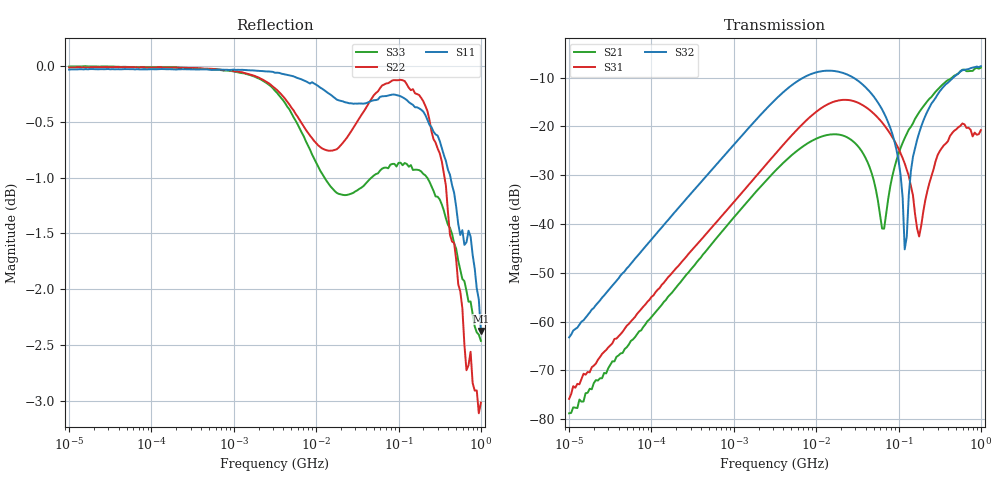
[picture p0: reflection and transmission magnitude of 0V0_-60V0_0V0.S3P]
!Keysight Technologies,E5080A,MY55100144,A.11.70.03
!Date: Monday, November 13, 2017 17:21:25
!Correction: S11(Full 3 Port(1,2,3))
!S12(Full 3 Port(1,2,3))
!S13(Full 3 Port(1,2,3))
!S21(Full 3 Port(1,2,3))
!S22(Full 3 Port(1,2,3))
!S23(Full 3 Port(1,2,3))
!S31(Full 3 Port(1,2,3))
!S32(Full 3 Port(1,2,3))
!S33(Full 3 Port(1,2,3))
!S3P File: Measurements: <S11,S12,S13>,
!<S21,S22,S23>,
!<S31,S32,S33>:Log Frequency Sweep
# Hz S  RI  R 50
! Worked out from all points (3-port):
!   201 points, 10 kHz to 1 GHz, reference 50 ohm
!   strongest paths, dB at 10 kHz, 177.8 kHz, 3.162 MHz, 56.23 MHz, 1 GHz:
!     S32: -63.3, -38.3, -14.6, -15.1, -7.7
!     S31: -75.9, -50.0, -25.7, -18.3, -20.8
!     S21: -78.8, -54.1, -29.2, -35.2, -8.0
!   lowest |S11| = -2.4 dB at 1 GHz (marker M1), VSWR 7.36, Z = 367 + j15.3 ohm
!   |S11| at or under -10 dB: nowhere
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10000  0.9967 -0.00124  -8.25e-06 9.45e-05  -1.26e-05 0.00016
       -1.42e-06 0.000115  0.9989 -0.00328  -7.53e-07 0.000713
       -7.98e-06 0.000161  8.63e-06 0.000688  0.9998 -0.00245
3162278  0.9246 -0.3635  0.0139 0.0319  0.0146 0.0497
         0.0142 0.0317  0.7067 -0.6756  0.0953 0.1602
         0.0146 0.0497  0.0955 0.1601  0.9351 -0.2763
1.778279e7  -0.0735 -0.9635  0.0826 0.00334  0.1791 0.0334
            0.0827 0.00322  -0.6225 -0.6746  0.3577 -0.0751
            0.1792 0.0332  0.3576 -0.0751  0.2934 -0.8269
6.309573e7  -0.9117 -0.3297  0.00906 0.000214  0.0522 -0.0964
            0.00898 0.000253  -0.9803 -0.0124  0.0474 -0.1414
            0.0521 -0.0964  0.0474 -0.1415  -0.714 -0.5473
9.440609e7  -0.968 -0.0728  0.00557 0.0445  0.0118 -0.0639
            0.00566 0.0445  -0.9591 0.2278  0.0019 -0.0574
            0.0119 -0.0639  0.00186 -0.0573  -0.8598 -0.2717
1.188502e8  -0.9643 0.0753  0.0181 0.0734  0.00186 -0.0416
            0.0182 0.0734  -0.9105 0.3755  -0.000724 -0.00546
            0.00185 -0.0416  -0.000705 -0.00544  -0.8985 -0.1075
1.778279e8  -0.8949 0.3407  0.0709 0.1197  0.00634 -0.00397
            0.0709 0.1198  -0.7346 0.6347  0.0404 0.0754
            0.00631 -0.00392  0.0404 0.0753  -0.8795 0.1829
3.758374e8  -0.4226 0.8024  0.2826 0.0501  0.0664 -0.00678
            0.2827 0.0501  0.0686 0.8816  0.2632 0.0624
            0.0663 -0.00686  0.263 0.0624  -0.5083 0.687
7.079458e8  0.4441 0.7174  0.2058 -0.3043  0.00571 -0.0967
            0.2055 -0.3046  0.6992 0.2243  0.2449 -0.298
            0.00561 -0.0967  0.2451 -0.2977  0.2554 0.7413
1e9  0.7606 0.00876  -0.0928 -0.388  -0.0567 -0.0718
     -0.0933 -0.3881  0.5908 -0.3873  -0.0446 -0.4108
     -0.0567 -0.0717  -0.0443 -0.4109  0.6862 0.3101
